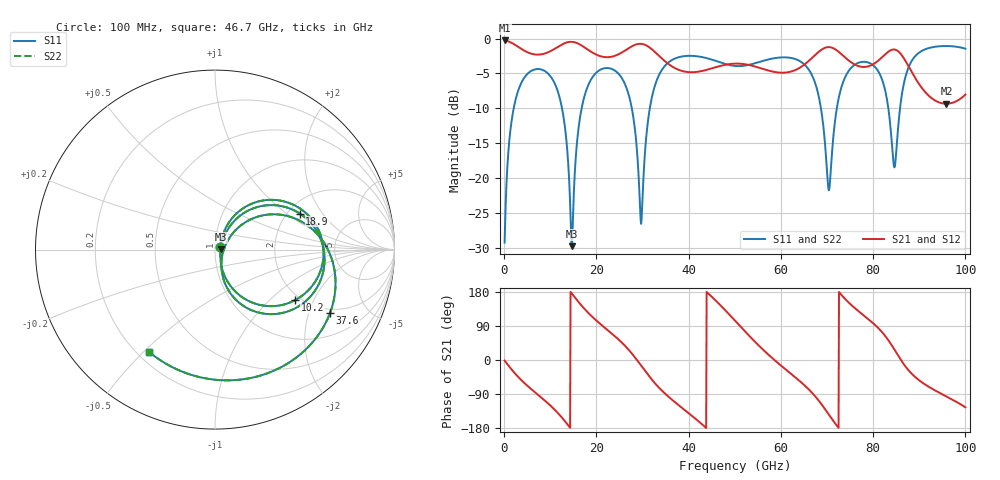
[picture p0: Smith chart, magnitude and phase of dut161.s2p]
! Touchstone file exported from HFSS 2026.1.0
!  File:  C:/ffzhzh/LocalFiles/Ansys_Project_Files/temp_train_TSV_RDL_161_1783648230_33328.aedt
!  Generated:  10:09:23 AM Jul 10, 2026
!  Design:  TSV_RDL
!  Project:  temp_train_TSV_RDL_161_1783648230_33328
! Variables:
!  h_bsmrdl = 2.5um
!  h_ox = 20um
!  h_rdl = 5um
!  h_sub = 71.33um
!  h_tmrdl = 4.77um
!  h_tsv = 71.33um
!  h_via = 3um
!  l_bsmrdl = 588.09um
!  l_sub = 4256.55um
!  l_tmrdl = 494.9um
!  m_sub = 200um
!  pitch = 50.95um
!  r_tsv = 7.58um
!  s_tmrdl = 10um
!  w_bsmrdl = 10.77um
!  w_sub = 500um
!  w_tmrdl = 26.79um
!  x_tsv_center1 = 508.295um
!  x_tsv_center2 = 1107.155um
!  x_tsv_center3 = 1628.845um
!  x_tsv_center4 = 2227.705um
!  x_tsv_center5 = 2749.395um
!  x_tsv_center6 = 3348.255um
# GHz S MA R 50.000000
! Terminal data exported
! Port[1] = TM_RDL1_1_T1
! Port[2] = TM_RDL5_1_T1
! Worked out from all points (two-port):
!   1000 points, 100 MHz to 100 GHz, reference 50 ohm
!   highest |S21| = -0.26 dB at 100 MHz (marker M1); lowest = -9.3 dB at 95.9 GHz (marker M2)
!   |S21| within 3 dB of the highest: start of sweep to 34.91 GHz; 65.92 GHz to 74.95 GHz (9.029 GHz wide, 12.8 % of centre) (the widest 2 of 3)
!   lowest |S11| = -29.8 dB at 14.7 GHz (marker M3), VSWR 1.07, Z = 53.4 + j0.224 ohm
!   |S11| at or under -10 dB: 12.55 GHz to 16.8 GHz (4.246 GHz wide, 28.9 % of centre); 27.68 GHz to 31.58 GHz (3.895 GHz wide, 13.1 % of centre); 68.69 GHz to 72.12 GHz (3.433 GHz wide, 4.88 % of centre) (the widest 3 of 5)
!   |S22| runs from -29.8 to -1.1 dB; largest |S21 - S12| = 1.1e-13
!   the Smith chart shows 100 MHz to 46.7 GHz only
!   S11 on the Smith chart (normalised r, x): 100 MHz: 1.06, +0.04; 10.2 GHz: 1.87, -1.46; 18.9 GHz: 2.31, +1.26; 37.6 GHz: 1.83, -2.78; 46.7 GHz: 0.25, -0.52
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0.1  0.03451 29.3  0.9702 -1.6  0.9702 -1.6  0.03451 29.3
! Gamma 0 0 0 0
! Port Impedance 50 0 50 0
3  0.4195 41.4  0.8746 -44.1  0.8746 -44.1  0.4195 41.4
10.2  0.5279 -32.2  0.8186 -122.2  0.8186 -122.2  0.5278 -32.2
14.7  0.03252 3.7  0.9483 175.0  0.9483 175.0  0.03222 3.8
16.8  0.3168 46.8  0.8927 143.4  0.8927 143.4  0.3168 46.9
18.9  0.5134 23.0  0.8034 116.4  0.8034 116.4  0.5134 23.1
26.3  0.4628 -50.9  0.8253 36.3  0.8253 36.3  0.4628 -50.8
29.7  0.04701 -13.8  0.9178 -14.8  0.9178 -14.8  0.04714 -13.7
33.4  0.5328 14.6  0.7624 -70.8  0.7624 -70.8  0.5329 14.7
37.6  0.7317 -28.9  0.6019 -116.9  0.6019 -116.9  0.7317 -28.8
46.7  0.6785 -122.6  0.6351 146.8  0.6351 146.8  0.6785 -122.6
50.1  0.6368 -166.5  0.6621 103.3  0.6621 103.3  0.6369 -166.5
58.3  0.7212 92.2  0.5797 3.1  0.5797 3.1  0.7213 92.2
66.7  0.5499 9.0  0.7248 -85.9  0.7248 -85.9  0.5502 9.2
70.4  0.0817 35.3  0.8695 -144.1  0.8695 -144.1  0.08437 35.3
72.3  0.3423 81.4  0.8156 -175.9  0.8156 -175.9  0.3428 81.0
78.8  0.6764 20.2  0.6311 109.5  0.6311 109.5  0.6763 20.2
83.4  0.2975 -20.2  0.8109 50.4  0.8109 50.4  0.2972 -20.3
84.7  0.1213 33.4  0.8347 25.7  0.8347 25.7  0.1211 33.5
88  0.6578 49.6  0.6055 -31.6  0.6055 -31.6  0.6579 49.7
95.9  0.885 -6.6  0.3413 -96.3  0.3413 -96.3  0.885 -6.6
100  0.8473 -31.9  0.3969 -124.8  0.3969 -124.8  0.8474 -31.8
